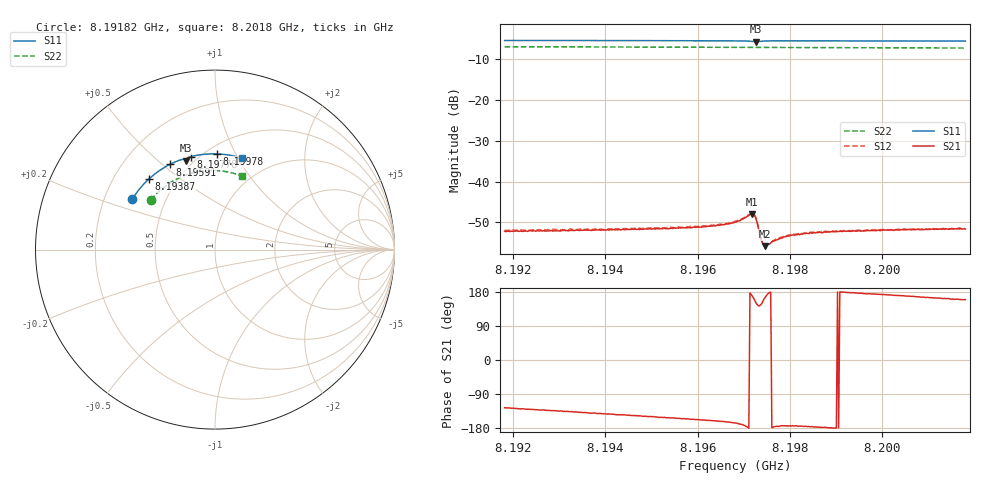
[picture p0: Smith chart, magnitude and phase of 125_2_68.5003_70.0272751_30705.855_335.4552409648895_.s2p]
#  HZ  S  RI  R  50.00
! Rohde & Schwarz Vector Network Analyzer
! Rohde-Schwarz,ZNB20-2Port,1311601062101988,3.16
! Created: UTC 3/20/2024, 4:54:08 PM
! freq[Hz]  re:S11  im:S11  re:S21  im:S21  re:S12  im:S12  re:S22  im:S22
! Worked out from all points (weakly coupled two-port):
!   401 points, 8.19182 GHz to 8.2018 GHz, reference 50 ohm
!   highest |S21| = -47.93 dB at 8.19719 GHz (marker M1); lowest = -55.8 dB at 8.19746 GHz (marker M2)
!   lowest |S11| = -5.7 dB at 8.19726 GHz (marker M3), VSWR 3.18, Z = 22.8 + j31.1 ohm
!   |S11| at or under -10 dB: nowhere
!   |S22| runs from -7.2 to -6.9 dB; largest |S21 - S12| = 0.00021
!   S11 on the Smith chart (normalised r, x): 8.19182 GHz: 0.32, +0.25; 8.19387 GHz: 0.35, +0.39; 8.19591 GHz: 0.40, +0.53; 8.19778 GHz: 0.46, +0.67; 8.19978 GHz: 0.56, +0.84; 8.2018 GHz: 0.73, +1.04
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8.191819e9  -0.4619 0.2803  -0.00145 -0.002  -0.00152 -0.00201  -0.3578 0.2764
8.193491e9  -0.3894 0.3729  -0.0019 -0.00169  -0.00201 -0.00165  -0.2924 0.3422
8.193866e9  -0.3704 0.3913  -0.00202 -0.00162  -0.00209 -0.00157  -0.2757 0.355
8.195164e9  -0.2982 0.4476  -0.00233 -0.00126  -0.00242 -0.00125  -0.2143 0.3931
8.195913e9  -0.2522 0.4743  -0.00255 -0.0011  -0.00265 -0.00102  -0.1762 0.4104
8.196562e9  -0.2095 0.4936  -0.00282 -0.000885  -0.00294 -0.000759  -0.1417 0.4224
8.196811e9  -0.1918 0.4998  -0.00308 -0.000761  -0.00321 -0.000637  -0.1283 0.4262
8.196936e9  -0.1823 0.5023  -0.00331 -0.000629  -0.00341 -0.000523  -0.1213 0.428
8.197136e9  -0.1652 0.5024  -0.00394 0.000219  -0.00403 0.000362  -0.1104 0.4303
8.197186e9  -0.1616 0.5  -0.00394 0.000771  -0.00398 0.000947  -0.1077 0.4309
8.197236e9  -0.1605 0.4969  -0.00358 0.00144  -0.00355 0.00161  -0.1051 0.4314
8.197261e9  -0.1612 0.496  -0.00316 0.00167  -0.00316 0.00184  -0.1036 0.4316
8.197386e9  -0.1625 0.5028  -0.0016 0.00101  -0.00162 0.00105  -0.0968 0.433
8.19741e9  -0.1611 0.5047  -0.00154 0.000777  -0.00158 0.000835  -0.0956 0.4335
8.19746e9  -0.1579 0.5078  -0.00156 0.000424  -0.00162 0.000499  -0.093 0.4339
8.197535e9  -0.1523 0.5112  -0.00172 0.000118  -0.00169 0.000218  -0.0888 0.4349
8.197785e9  -0.1334 0.5182  -0.00199 -0.000211  -0.00206 -0.000134  -0.0749 0.437
8.19806e9  -0.1134 0.523  -0.00221 -0.000259  -0.00224 -0.000133  -0.0595 0.439
8.198484e9  -0.0833 0.5283  -0.00233 -0.000179  -0.00239 -5.14e-05  -0.0355 0.4408
8.199782e9  0.00882 0.5335  -0.0025 0.000249  -0.00256 0.000371  0.038 0.4382
8.200156e9  0.0352 0.532  -0.00253 0.000343  -0.00251 0.000483  0.059 0.4351
8.201804e9  0.1494 0.5096  -0.00245 0.000933  -0.00246 0.00106  0.1491 0.4098
